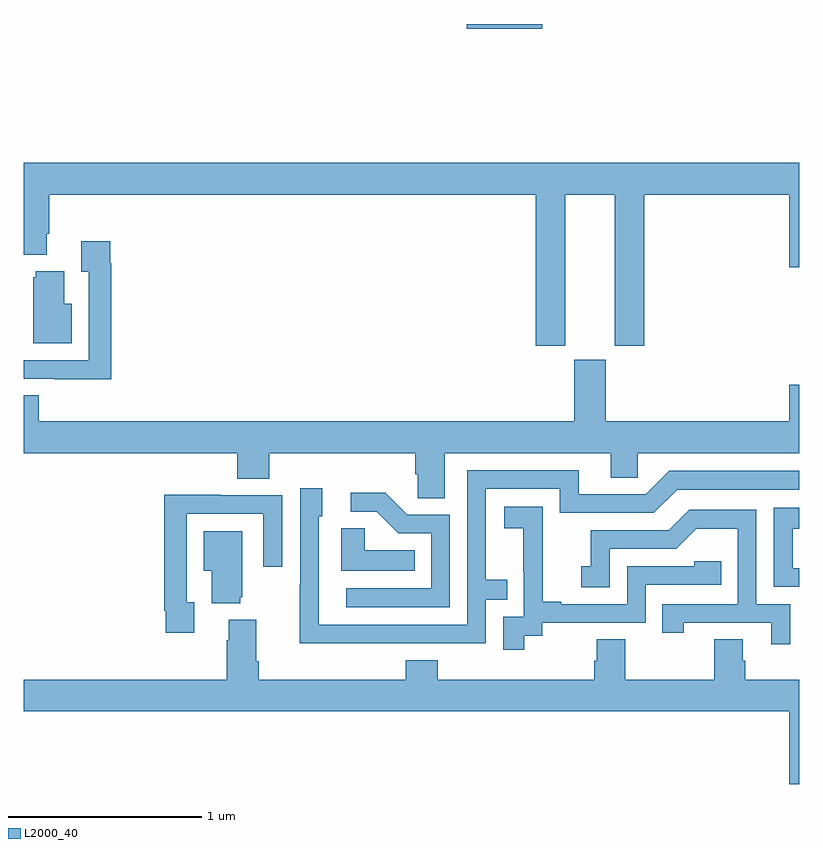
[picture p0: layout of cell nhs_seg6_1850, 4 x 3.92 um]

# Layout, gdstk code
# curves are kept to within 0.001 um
import gdstk
lib = gdstk.Library(unit=1e-6, precision=1e-09)
def R(c, l, rs):  # rectangles x0, y0, x1, y1
    for r in rs: c.add(gdstk.rectangle(r[:2], r[2:], *l))
def P(c, l, *ps):  # polygons
    for p in ps: c.add(gdstk.Polygon(p, *l))
L2000_40 = (2000, 40)

nhs_seg6_1850 = lib.new_cell('nhs_seg6_1850')
R(nhs_seg6_1850, L2000_40, [(223.286,997.475,223.675,997.5)])
P(nhs_seg6_1850, L2000_40, [(223.792,996.62),(224.048,996.62),(224.048,995.841),(224.201,995.841),(224.201,996.62),(224.948,996.62),(224.948,996.246),(225,996.246),(225,996.784),(221,996.784),(221,996.311),(221.119,996.311),(221.119,996.418),(221.132,996.418),(221.132,996.62),(223.64,996.62),(223.64,995.841),(223.792,995.841)],
  [(221.453,996.266),(221.446,996.266),(221.446,996.379),(221.297,996.379),(221.297,996.223),(221.337,996.223),(221.337,995.766),(221,995.766),(221,995.67),(221.161,995.67),(221.161,995.669),(221.453,995.669)],
  [(221.248,996.058),(221.209,996.058),(221.209,996.226),(221.063,996.226),(221.063,996.195),(221.051,996.195),(221.051,995.855),(221.248,995.855)],
  [(225,995.641),(224.948,995.641),(224.948,995.452),(224.002,995.452),(224.002,995.769),(223.838,995.769),(223.838,995.452),(221.078,995.452),(221.078,995.585),(221,995.585),(221,995.288),(222.101,995.288),(222.101,995.155),(222.266,995.155),(222.266,995.288),(223.019,995.288),(223.019,995.179),(223.032,995.179),(223.032,995.056),(223.171,995.056),(223.171,995.288),(224.027,995.288),(224.027,995.161),(224.166,995.161),(224.166,995.288),(225,995.288)],
  [(222.887,994.308),(223.383,994.308),(223.383,994.533),(223.493,994.533),(223.493,994.634),(223.383,994.634),(223.383,995.103),(223.764,995.103),(223.764,994.98),(224.25,994.98),(224.37,995.1),(225,995.1),(225,995.196),(224.328,995.196),(224.208,995.076),(223.861,995.076),(223.861,995.199),(223.287,995.199),(223.287,994.404),(222.522,994.404),(222.522,994.962),(222.541,994.962),(222.541,995.107),(222.426,995.107),(222.426,994.613),(222.424,994.613),(222.424,994.307)],
  [(223.197,994.971),(222.978,994.971),(222.865,995.084),(222.687,995.084),(222.687,994.986),(222.821,994.986),(222.932,994.875),(223.101,994.875),(223.101,994.59),(222.663,994.59),(222.663,994.494),(223.197,994.494)],
  [(221.881,994.518),(221.841,994.518),(221.841,994.974),(222.237,994.974),(222.237,994.701),(222.333,994.701),(222.333,995.07),(222.017,995.07),(222.017,995.072),(221.725,995.072),(221.725,994.474),(221.733,994.474),(221.733,994.362),(221.881,994.362)],
  [(223.582,994.345),(223.674,994.345),(223.674,994.413),(224.208,994.413),(224.208,994.608),(224.597,994.608),(224.597,994.731),(224.457,994.731),(224.457,994.704),(224.112,994.704),(224.112,994.509),(223.771,994.509),(223.771,994.522),(223.676,994.522),(223.676,994.805),(223.677,994.805),(223.677,995.011),(223.479,995.011),(223.479,994.901),(223.577,994.901),(223.577,994.673),(223.578,994.673),(223.578,994.443),(223.473,994.443),(223.473,994.275),(223.582,994.275)],
  [(225,994.695),(224.965,994.695),(224.965,994.899),(225,994.899),(225,995.005),(224.868,995.005),(224.868,994.599),(225,994.599)],
  [(224.952,994.509),(224.778,994.509),(224.778,994.995),(224.432,994.995),(224.327,994.89),(223.924,994.89),(223.924,994.705),(223.875,994.705),(223.875,994.596),(224.022,994.596),(224.022,994.794),(224.364,994.794),(224.468,994.898),(224.682,994.898),(224.682,994.509),(224.293,994.509),(224.293,994.362),(224.404,994.362),(224.404,994.413),(224.855,994.413),(224.855,994.302),(224.952,994.302)],
  [(223.016,994.786),(222.759,994.786),(222.759,994.901),(222.638,994.901),(222.638,994.682),(223.016,994.682)],
  [(222.116,994.545),(222.127,994.545),(222.127,994.885),(221.93,994.885),(221.93,994.682),(221.969,994.682),(221.969,994.514),(222.116,994.514)],
  [(225,994.12),(224.72,994.12),(224.72,994.218),(224.707,994.218),(224.707,994.328),(224.56,994.328),(224.56,994.12),(224.103,994.12),(224.103,994.328),(223.955,994.328),(223.955,994.218),(223.943,994.218),(223.943,994.12),(223.136,994.12),(223.136,994.219),(222.971,994.219),(222.971,994.12),(222.212,994.12),(222.212,994.216),(222.199,994.216),(222.199,994.429),(222.059,994.429),(222.059,994.322),(222.047,994.322),(222.047,994.12),(221,994.12),(221,993.956),(224.948,993.956),(224.948,993.582),(225,993.582)])

lib.write_gds('nhs_seg6_1850.gds')
